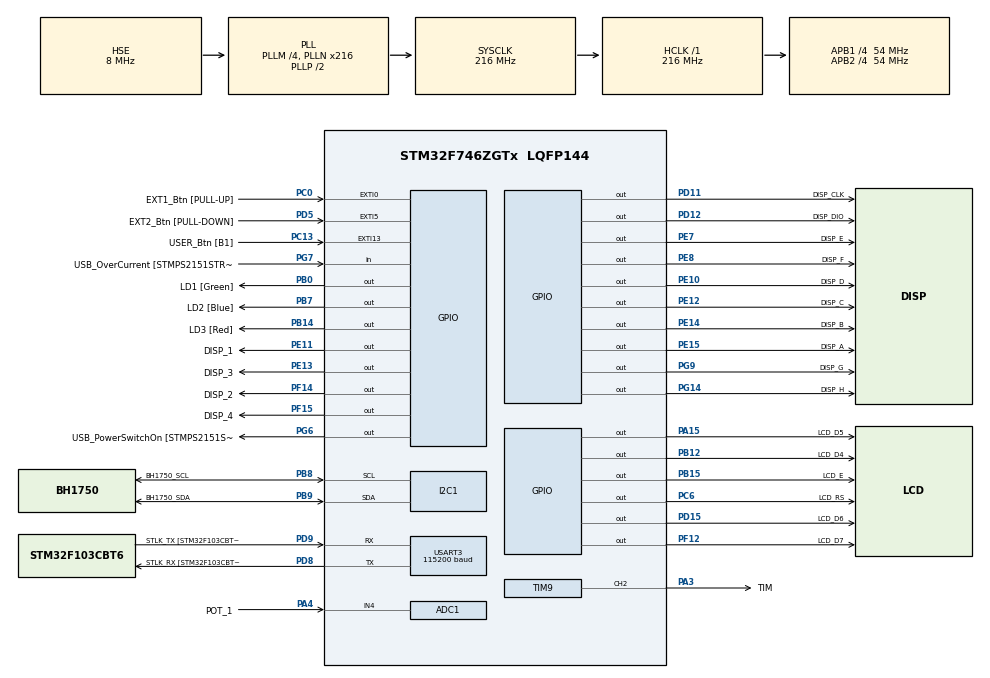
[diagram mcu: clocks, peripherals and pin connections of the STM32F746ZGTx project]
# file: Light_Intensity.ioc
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ADC1.Channel-0\#ChannelRegularConversion=ADC_CHANNEL_4
ADC1.NbrOfConversionFlag=1
ADC1.Rank-0\#ChannelRegularConversion=1
ADC1.SamplingTime-0\#ChannelRegularConversion=ADC_SAMPLETIME_3CYCLES
ADC1.master=1
ARM.CMSIS.5.7.0.CMSISJjCORE=true
ARM.CMSIS.5.7.0.CMSISJjDSP=Library
Dma.ADC1.1.Direction=DMA_PERIPH_TO_MEMORY
Dma.ADC1.1.FIFOMode=DMA_FIFOMODE_DISABLE
Dma.ADC1.1.Instance=DMA2_Stream0
Dma.ADC1.1.MemDataAlignment=DMA_MDATAALIGN_HALFWORD
Dma.ADC1.1.MemInc=DMA_MINC_ENABLE
Dma.ADC1.1.Mode=DMA_CIRCULAR
Dma.ADC1.1.PeriphDataAlignment=DMA_PDATAALIGN_HALFWORD
Dma.ADC1.1.PeriphInc=DMA_PINC_DISABLE
Dma.ADC1.1.Priority=DMA_PRIORITY_LOW
Dma.Request0=USART3_RX
Dma.Request1=ADC1
Dma.USART3_RX.0.Direction=DMA_PERIPH_TO_MEMORY
Dma.USART3_RX.0.FIFOMode=DMA_FIFOMODE_DISABLE
Dma.USART3_RX.0.Instance=DMA1_Stream1
Dma.USART3_RX.0.MemDataAlignment=DMA_MDATAALIGN_BYTE
Dma.USART3_RX.0.MemInc=DMA_MINC_ENABLE
Dma.USART3_RX.0.Mode=DMA_NORMAL
Dma.USART3_RX.0.PeriphDataAlignment=DMA_PDATAALIGN_BYTE
Dma.USART3_RX.0.PeriphInc=DMA_PINC_DISABLE
Dma.USART3_RX.0.Priority=DMA_PRIORITY_LOW
I2C1.Timing=0x20404768
Mcu.Family=STM32F7
Mcu.Name=STM32F746ZGTx
Mcu.Package=LQFP144
NVIC.ADC_IRQn=true\:0\:0\:false\:false\:true\:true\:true\:true
NVIC.DMA1_Stream1_IRQn=true\:0\:0\:false\:false\:true\:false\:true\:true
NVIC.DMA2_Stream0_IRQn=true\:0\:0\:false\:false\:true\:false\:true\:true
NVIC.PriorityGroup=NVIC_PRIORITYGROUP_4
NVIC.TIM7_IRQn=true\:0\:0\:false\:false\:true\:true\:true\:true
NVIC.USART3_IRQn=true\:0\:0\:false\:false\:true\:true\:true\:true
PA1.GPIO_Label=ADC_IN1
PA1.Signal=ADCx_IN1
PA10.GPIO_Label=USB_ID
PA10.Signal=USB_OTG_FS_ID
PA11.GPIO_Label=USB_DM
PA11.Signal=USB_OTG_FS_DM
PA12.GPIO_Label=USB_DP
PA12.Signal=USB_OTG_FS_DP
PA13.GPIO_Label=TMS
PA13.Mode=Serial_Wire
PA13.Signal=SYS_JTMS-SWDIO
PA14.GPIO_Label=TCK
PA14.Mode=Serial_Wire
PA14.Signal=SYS_JTCK-SWCLK
PA15.GPIO_Label=LCD_D5
PA15.Signal=GPIO_Output
PA2.GPIO_Label=LD4 [PWM]
PA2.Signal=S_TIM5_CH3
PA3.GPIO_Label=TIM
PA3.GPIO_PuPd=GPIO_PULLDOWN
PA3.Signal=S_TIM9_CH2
PA4.GPIO_Label=POT_1
PA4.Signal=ADCx_IN4
PA7.GPIO_Label=RMII_CRS_DV [LAN8742A-CZ-TR_CRS_DV]
PA7.Signal=ETH_CRS_DV
PA8.GPIO_Label=USB_SOF [TP1]
PA8.Signal=USB_OTG_FS_SOF
PA9.GPIO_Label=USB_VBUS
PA9.Signal=USB_OTG_FS_VBUS
PB0.GPIO_Label=LD1 [Green]
PB0.Signal=GPIO_Output
PB12.GPIO_Label=LCD_D4
PB12.Signal=GPIO_Output
PB13.GPIO_Label=RMII_TXD1 [LAN8742A-CZ-TR_TXD1]
PB13.Signal=ETH_TXD1
PB14.GPIO_Label=LD3 [Red]
PB14.Signal=GPIO_Output
PB15.GPIO_Label=LCD_E
PB15.Signal=GPIO_Output
PB3.GPIO_Label=SW0
PB3.Signal=SYS_JTDO-SWO
PB7.GPIO_Label=LD2 [Blue]
PB7.Signal=GPIO_Output
PB8.GPIO_Label=BH1750_SCL
PB8.Mode=I2C
PB8.Signal=I2C1_SCL
PB9.GPIO_Label=BH1750_SDA
PB9.Mode=I2C
PB9.Signal=I2C1_SDA
PC0.GPIO_Label=EXT1_Btn [PULL-UP]
PC0.GPIO_ModeDefaultEXTI=GPIO_MODE_IT_FALLING
PC0.GPIO_PuPd=GPIO_PULLUP
PC0.Signal=GPXTI0
PC1.GPIO_Label=RMII_MDC [LAN8742A-CZ-TR_MDC]
PC1.Signal=ETH_MDC
PC13.GPIO_Label=USER_Btn [B1]
PC13.Signal=GPXTI13
PC14/OSC32_IN.Mode=LSE-External-Oscillator
PC14/OSC32_IN.Signal=RCC_OSC32_IN
PC15/OSC32_OUT.Mode=LSE-External-Oscillator
PC15/OSC32_OUT.Signal=RCC_OSC32_OUT
PC4.GPIO_Label=RMII_RXD0 [LAN8742A-CZ-TR_RXD0]
PC4.Signal=ETH_RXD0
PC5.GPIO_Label=RMII_RXD1 [LAN8742A-CZ-TR_RXD1]
PC5.Signal=ETH_RXD1
PC6.GPIO_Label=LCD_RS
PC6.Signal=GPIO_Output
PD11.GPIO_Label=DISP_CLK
PD11.GPIO_ModeDefaultOutputPP=GPIO_MODE_OUTPUT_OD
PD11.GPIO_PuPd=GPIO_PULLUP
PD11.GPIO_Speed=GPIO_SPEED_FREQ_VERY_HIGH
PD11.Signal=GPIO_Output
PD12.GPIO_Label=DISP_DIO
PD12.GPIO_ModeDefaultOutputPP=GPIO_MODE_OUTPUT_OD
PD12.GPIO_PuPd=GPIO_PULLUP
PD12.Signal=GPIO_Output
PD15.GPIO_Label=LCD_D6
PD15.Signal=GPIO_Output
PD5.GPIO_Label=EXT2_Btn [PULL-DOWN]
PD5.GPIO_ModeDefaultEXTI=GPIO_MODE_IT_RISING
PD5.GPIO_PuPd=GPIO_PULLDOWN
PD5.Signal=GPXTI5
PD8.GPIO_Label=STLK_RX [STM32F103CBT6_PA3]
PD8.GPIO_PuPd=GPIO_NOPULL
PD8.Mode=Asynchronous
PD8.Signal=USART3_TX
PD9.GPIO_Label=STLK_TX [STM32F103CBT6_PA2]
PD9.GPIO_PuPd=GPIO_NOPULL
PD9.Mode=Asynchronous
PD9.Signal=USART3_RX
PE10.GPIO_Label=DISP_D
PE10.GPIO_ModeDefaultOutputPP=GPIO_MODE_OUTPUT_OD
PE10.GPIO_PuPd=GPIO_PULLUP
PE10.Signal=GPIO_Output
PE11.GPIO_Label=DISP_1
PE11.Signal=GPIO_Output
PE12.GPIO_Label=DISP_C
PE12.GPIO_ModeDefaultOutputPP=GPIO_MODE_OUTPUT_OD
PE12.GPIO_PuPd=GPIO_PULLUP
PE12.Signal=GPIO_Output
PE13.GPIO_Label=DISP_3
PE13.Signal=GPIO_Output
PE14.GPIO_Label=DISP_B
PE14.GPIO_PuPd=GPIO_PULLUP
PE14.Signal=GPIO_Output
PE15.GPIO_Label=DISP_A
PE15.Signal=GPIO_Output
PE7.GPIO_Label=DISP_E
PE7.GPIO_ModeDefaultOutputPP=GPIO_MODE_OUTPUT_OD
PE7.GPIO_PuPd=GPIO_PULLUP
PE7.Signal=GPIO_Output
PE8.GPIO_Label=DISP_F
PE8.GPIO_ModeDefaultOutputPP=GPIO_MODE_OUTPUT_OD
PE8.GPIO_PuPd=GPIO_PULLUP
PE8.Signal=GPIO_Output
PF12.GPIO_Label=LCD_D7
PF12.Signal=GPIO_Output
PF14.GPIO_Label=DISP_2
PF14.Signal=GPIO_Output
PF15.GPIO_Label=DISP_4
PF15.Signal=GPIO_Output
PG11.GPIO_Label=RMII_TX_EN [LAN8742A-CZ-TR_TXEN]
PG11.Signal=ETH_TX_EN
PG13.GPIO_Label=RMII_TXD0 [LAN8742A-CZ-TR_TXD0]
PG13.Signal=ETH_TXD0
PG14.GPIO_Label=DISP_H
PG14.GPIO_ModeDefaultOutputPP=GPIO_MODE_OUTPUT_OD
PG14.GPIO_PuPd=GPIO_PULLUP
PG14.Signal=GPIO_Output
PG6.GPIO_Label=USB_PowerSwitchOn [STMPS2151STR_EN]
PG6.Signal=GPIO_Output
PG7.GPIO_Label=USB_OverCurrent [STMPS2151STR_FAULT]
PG7.Signal=GPIO_Input
PG9.GPIO_Label=DISP_G
PG9.GPIO_ModeDefaultOutputPP=GPIO_MODE_OUTPUT_OD
PG9.GPIO_PuPd=GPIO_PULLUP
PG9.Signal=GPIO_Output
PH0/OSC_IN.GPIO_Label=MCO [STM32F103CBT6_PA8]
PH0/OSC_IN.Mode=HSE-External-Clock-Source
PH0/OSC_IN.Signal=RCC_OSC_IN
PH1/OSC_OUT.Mode=HSE-External-Clock-Source
PH1/OSC_OUT.Signal=RCC_OSC_OUT
ProjectManager.HeapSize=0x200
ProjectManager.StackSize=0x400
ProjectManager.TargetToolchain=STM32CubeIDE
RCC.48MHZClocksFreq_Value=24000000
RCC.AHBFreq_Value=216000000
RCC.APB1CLKDivider=RCC_HCLK_DIV4
RCC.APB1Freq_Value=54000000
RCC.APB1TimFreq_Value=108000000
RCC.APB2CLKDivider=RCC_HCLK_DIV4
RCC.APB2Freq_Value=54000000
RCC.APB2TimFreq_Value=108000000
RCC.CortexFreq_Value=216000000
RCC.HCLKFreq_Value=216000000
RCC.HSE_VALUE=8000000
RCC.HSI_VALUE=16000000
RCC.PLLM=4
RCC.PLLMUL=RCC_PLL_MUL9
RCC.PLLN=216
RCC.PLLQ=3
RCC.PLLSourceVirtual=RCC_PLLSOURCE_HSE
RCC.PRESCALERUSB=RCC_USBCLKSOURCE_PLL_DIV1_5
RCC.SYSCLKFreq_VALUE=216000000
RCC.SYSCLKSource=RCC_SYSCLKSOURCE_PLLCLK
RCC.SYSCLKSourceVirtual=RCC_SYSCLKSOURCE_PLLCLK
RCC.USART3CLockSelection=RCC_USART3CLKSOURCE_SYSCLK
RCC.USBFreq_Value=144000000
RCC.VCOOutputFreq_Value=432000000
SH.ADCx_IN1.0=ADC1_IN1
SH.ADCx_IN4.0=ADC1_IN4,IN4
SH.S_TIM5_CH3.0=TIM5_CH3
SH.S_TIM9_CH2.0=TIM9_CH2,PWM Generation2 CH2
TIM5.Prescaler=107
TIM7.Period=19999
TIM7.Prescaler=1079
TIM9.Channel-PWM\ Generation2\ CH2=TIM_CHANNEL_2
TIM9.Period=999
TIM9.Prescaler=107
USART3.BaudRate=115200
USART3.VirtualMode-Asynchronous=VM_ASYNC
VP_ARM.CMSIS_VS_CMSISJjCORE_5.4.0_5.7.0.Mode=CMSISJjCORE
VP_ARM.CMSIS_VS_CMSISJjDSP_1.8.0_5.7.0.Mode=CMSISJjDSP
VP_TIM5_VS_ClockSourceINT.Mode=Internal
VP_TIM7_VS_ClockSourceINT.Mode=Enable_Timer
VP_TIM9_VS_ClockSourceINT.Mode=Internal
board=NUCLEO-F746ZG

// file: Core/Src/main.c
/* USER CODE BEGIN Header */
/**
  ******************************************************************************
  * @file           : main.c
  * @brief          : Main program body
  ******************************************************************************
  * @attention
  *
  * Copyright (c) 2025 STMicroelectronics.
  * All rights reserved.
  *
  * This software is licensed under terms that can be found in the LICENSE file
  * in the root directory of this software component.
  * If no LICENSE file comes with this software, it is provided AS-IS.
  *
  ******************************************************************************
  */
/* USER CODE END Header */
#include "main.h"
#include "adc.h"
#include "dma.h"
#include "i2c.h"
#include "tim.h"
#include "usart.h"
#include "gpio.h"

/* USER CODE BEGIN Includes */
#include <stdio.h>
#include <stdlib.h>
#include "bh1750_config.h"
#include "led_config.h"
#include "btn_config.h"
#include "disp_config.h"
#include "lcd_config.h"
#include <stdio.h>
#include "aio.h"
/* USER CODE END Includes */

/* USER CODE BEGIN PV */
uint8_t tx_buffer[8];
const int tx_msg_len = 4;
unsigned int Illuminance_lux_Int = 0, avg_lux = 0;
float Illuminance_lux = 0.0f, lux_out = 0.0f;
float pot1_vol = 0.0f, pot_out = 0.0f;
float aim = 0.0f, duty_cycle = 0.0f;
float Ki = 0.05, error = 0.0f, integral = 0.0f;
float max_lux = 0.0f, min_lux = 0.0f;
int  init_done = 0.0f;
typedef enum {
    MODE_TERMINAL,
    MODE_POTENTIOMETER
} OperatingMode;
OperatingMode currentMode = MODE_TERMINAL;
/* USER CODE END PV */

void SystemClock_Config(void);

/* USER CODE BEGIN 0 */

void displayDigitalOnSerialPort(void)
{
  uint8_t tx_buffer[128];
  int tx_msg_len = sprintf((char *)tx_buffer, "Reference_Lux = %u,        ILLuminance = %5u.%03u,        PWM = %u,        LED_Output = %u\r",
      (int)aim, Illuminance_lux_Int / 1000, Illuminance_lux_Int % 1000, (unsigned int)duty_cycle, (unsigned int)lux_out);
  HAL_UART_Transmit(&huart3, tx_buffer, tx_msg_len, 100);
}
void displayAnalogueOnSerialPort(void)
{
  uint8_t tx_buffer[128];
  int tx_msg_len = sprintf((char *)tx_buffer, "Pot_Value = %u,        ILLuminance = %5u.%03u,        PWM = %u,        LED_Output = %u\r",
      (unsigned int)pot_out, Illuminance_lux_Int / 1000, Illuminance_lux_Int % 1000, (unsigned int)duty_cycle, (unsigned int)lux_out);
  HAL_UART_Transmit(&huart3, tx_buffer, tx_msg_len, 100);
}
void displayModeSelection(void) {
    uint8_t tx_buffer[128];
    int tx_msg_len = sprintf((char *)tx_buffer, "INPUT MODE CHANGED\r\n");
    HAL_UART_Transmit(&huart3, tx_buffer, tx_msg_len, 100);
}
void displayOnLCD(void)
{
  LCD_DIO_SetCursor(&hlcd1, 1, 0);
  LCD_DIO_printStr(&hlcd1, "Lux: ");
  LCD_DIO_printDecInt(&hlcd1, Illuminance_lux_Int / 1000);
  LCD_DIO_printStr(&hlcd1, ".");
  LCD_DIO_printDecInt(&hlcd1, Illuminance_lux_Int % 1000);
  DISP_TM1637_printDecUInt(&hdisp2, Illuminance_lux_Int);
}
void ModeSwitch(void)
{
  if (currentMode == MODE_TERMINAL) {
      displayDigitalOnSerialPort();
  } else if (currentMode == MODE_POTENTIOMETER) {
      displayAnalogueOnSerialPort();
  }
}
void ButtonControl(void)
{
  if (BTN_DIO_EdgeDetected(&husrbtn) == BTN_PRESSED_EDGE) {
      // Toggle input mode
      currentMode = (currentMode == MODE_TERMINAL) ? MODE_POTENTIOMETER : MODE_TERMINAL;
      displayModeSelection();
      aim = (currentMode == MODE_TERMINAL) ? 0.0f : pot_out;
      // Wait for button release to avoid repeated mode changes
      while (BTN_DIO_Read(&husrbtn) == BTN_PRESSED);
  }
}
void RangeCheck(void)
{
  if (!init_done)
    {
        // Set duty cycle to 0 and record min_lux
        LED_PWM_WriteDuty(&hld1, 0);
        HAL_Delay(1000);  // Adjust the delay as needed
        min_lux = BH1750_ReadIlluminance_lux(&hbh1750);
        // Set duty cycle to 100 and record max_lux
        LED_PWM_WriteDuty(&hld1, 100);
        HAL_Delay(1000);  // Adjust the delay as needed
        max_lux = BH1750_ReadIlluminance_lux(&hbh1750);

        init_done = 1;
    }
}
void controlRoutine(void)
{
    // Read illuminance value
    Illuminance_lux = BH1750_ReadIlluminance_lux(&hbh1750);
    Illuminance_lux_Int = Illuminance_lux * 1000.0f;

    avg_lux = ((max_lux - min_lux) / 4) * 1000.0f;
    LED_DIO_Write(&hldg1, Illuminance_lux_Int > (min_lux + avg_lux));   // quarter of illuminance alert
    LED_DIO_Write(&hldb1, Illuminance_lux_Int > (min_lux + (avg_lux * 2))); // half of illuminance alert
    LED_DIO_Write(&hldr1, Illuminance_lux_Int > (min_lux + (avg_lux * 3))); // three quarter of illuminance alert
}
void HAL_TIM_PeriodElapsedCallback(TIM_HandleTypeDef *htim)
{
    if (htim == &htim7)
    {
      static unsigned int cnt = 0;
      cnt++;
      controlRoutine();
    }
}
void processPotentiometer(void)
{
    HAL_ADC_Start(&hadc1);
    if (HAL_ADC_PollForConversion(&hadc1, ADC1_TIMEOUT) == HAL_OK)
    {
        // Read potentiometer value and map it to lux range
        pot1_vol = ADC_REG2DUTY(HAL_ADC_GetValue(&hadc1));
        pot_out = min_lux + (pot1_vol / 100.0f) * (max_lux - min_lux);
    }
}
void IntegralRoutine(void)
{
  // Inside controlRoutine(), use 'currentMode' to determine the source of 'aim'
  if (currentMode == MODE_POTENTIOMETER) {
      aim = pot_out;
  } else if (currentMode == MODE_TERMINAL) {
      // aim remains unchanged in MODE_TERMINAL
  }
    error = aim - Illuminance_lux;  // Digital calculate
    // error = pot_out - Illuminance_lux;      // Analogue calculate
    integral += error;
    duty_cycle = Ki * integral;

    integral += error;

//    if (integral > 1000.0f) integral = 1000.0f;
//    if (integral < -1000.0f) integral = -1000.0f;

    // Clamp the duty cycle to stay between 0% and 100%
      if (duty_cycle < 0) duty_cycle = 0;
      if (duty_cycle > 100) duty_cycle = 100;

    lux_out = min_lux + (duty_cycle * 0.01 * (max_lux - min_lux));  // led out lux

    // Clamp lux_out to stay within the min_lux and max_lux range
      if (lux_out < min_lux) lux_out = min_lux;
      if (lux_out > max_lux) lux_out = max_lux;

    LED_PWM_WriteDuty(&hld1, duty_cycle);
}
void HAL_UART_RxCpltCallback(UART_HandleTypeDef *huart)
{
  if(huart == &huart3)
  {
    aim = strtol((char*)tx_buffer, 0, 10);
    // SERIAL PORT CONTROL
    //display
    IntegralRoutine();
    HAL_UART_Receive_IT(&huart3, tx_buffer, tx_msg_len);
  }
}
/* USER CODE END 0 */

int main(void)
{

  /* MCU Configuration--------------------------------------------------------*/

  /* Reset of all peripherals, Initializes the Flash interface and the Systick. */
  HAL_Init();

  /* Configure the system clock */
  SystemClock_Config();

  /* Initialize all configured peripherals */
  MX_GPIO_Init();
  MX_DMA_Init();
  MX_I2C1_Init();
  MX_TIM9_Init();
  MX_TIM7_Init();
  MX_USART3_UART_Init();
  MX_TIM5_Init();
  MX_ADC1_Init();
  /* USER CODE BEGIN 2 */
  BH1750_Init(&hbh1750);
  LED_PWM_Init(&hld1);
  HAL_UART_Receive_IT(&huart3, tx_buffer, tx_msg_len);

  LCD_DIO_Init(&hlcd1);
  LCD_DIO_printStr(&hlcd1, "Light_Intensity");
  DISP_TM1637_SetBrightness(&hdisp2, 2);

//  MENU_Init(&hmenu);
  HAL_TIM_Base_Start_IT(&htim7);
  /* USER CODE END 2 */

  /* Infinite loop */
  /* USER CODE BEGIN WHILE */
  while (1) {
    processPotentiometer();  //read potentiometer
    ButtonControl();    // Check if the user wants to switch input mode
    IntegralRoutine(); // control logic
    RangeCheck();   // Perform initialization only once
    ModeSwitch(); // Call the appropriate display function based on the current mode
    displayOnLCD();// update display
    HAL_Delay(1000);
    /* USER CODE END WHILE */

  }
}

void SystemClock_Config(void)
{
  RCC_OscInitTypeDef RCC_OscInitStruct = {0};
  RCC_ClkInitTypeDef RCC_ClkInitStruct = {0};

  /** Configure LSE Drive Capability
  */
  HAL_PWR_EnableBkUpAccess();

  /** Configure the main internal regulator output voltage
  */
  __HAL_RCC_PWR_CLK_ENABLE();
  __HAL_PWR_VOLTAGESCALING_CONFIG(PWR_REGULATOR_VOLTAGE_SCALE1);

  /** Initializes the RCC Oscillators according to the specified parameters
  * in the RCC_OscInitTypeDef structure.
  */
  RCC_OscInitStruct.OscillatorType = RCC_OSCILLATORTYPE_HSE;
  RCC_OscInitStruct.HSEState = RCC_HSE_BYPASS;
  RCC_OscInitStruct.PLL.PLLState = RCC_PLL_ON;
  RCC_OscInitStruct.PLL.PLLSource = RCC_PLLSOURCE_HSE;
  RCC_OscInitStruct.PLL.PLLM = 4;
  RCC_OscInitStruct.PLL.PLLN = 216;
  RCC_OscInitStruct.PLL.PLLP = RCC_PLLP_DIV2;
  RCC_OscInitStruct.PLL.PLLQ = 3;
  if (HAL_RCC_OscConfig(&RCC_OscInitStruct) != HAL_OK)
  {
    Error_Handler();
  }

  /** Activate the Over-Drive mode
  */
  if (HAL_PWREx_EnableOverDrive() != HAL_OK)
  {
    Error_Handler();
  }

  /** Initializes the CPU, AHB and APB buses clocks
  */
  RCC_ClkInitStruct.ClockType = RCC_CLOCKTYPE_HCLK|RCC_CLOCKTYPE_SYSCLK
                              |RCC_CLOCKTYPE_PCLK1|RCC_CLOCKTYPE_PCLK2;
  RCC_ClkInitStruct.SYSCLKSource = RCC_SYSCLKSOURCE_PLLCLK;
  RCC_ClkInitStruct.AHBCLKDivider = RCC_SYSCLK_DIV1;
  RCC_ClkInitStruct.APB1CLKDivider = RCC_HCLK_DIV4;
  RCC_ClkInitStruct.APB2CLKDivider = RCC_HCLK_DIV4;

  if (HAL_RCC_ClockConfig(&RCC_ClkInitStruct, FLASH_LATENCY_7) != HAL_OK)
  {
    Error_Handler();
  }
}

void Error_Handler(void)
{
  /* USER CODE BEGIN Error_Handler_Debug */
  /* User can add his own implementation to report the HAL error return state */
  __disable_irq();
  while (1)
  {
    // Blink an LED to indicate an error
    HAL_GPIO_TogglePin(GPIOB, GPIO_PIN_0);
    HAL_Delay(500);
  }
  /* USER CODE END Error_Handler_Debug */
}
